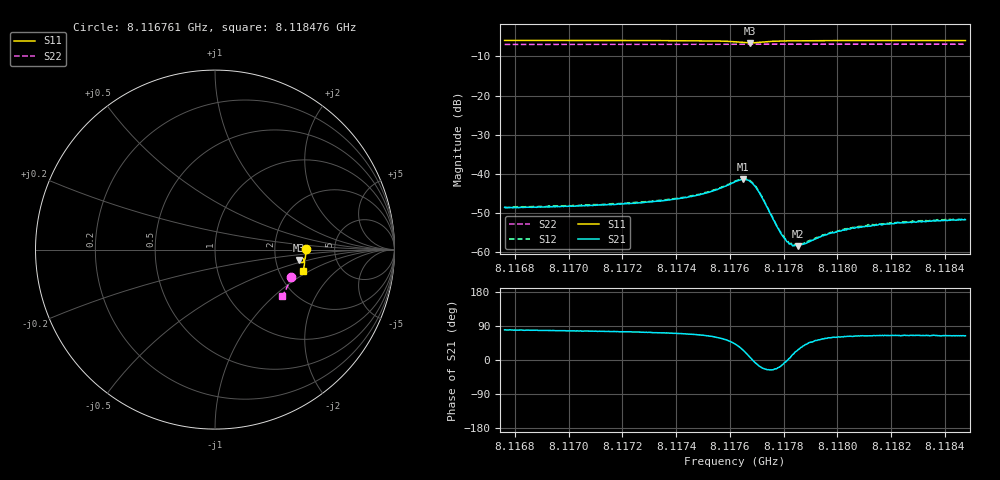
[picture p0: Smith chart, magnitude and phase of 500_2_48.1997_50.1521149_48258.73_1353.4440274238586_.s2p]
#  HZ  S  RI  R  50.00
! Rohde & Schwarz Vector Network Analyzer
! Rohde-Schwarz,ZNB20-2Port,1311601062101988,3.16
! Created: UTC 3/20/2024, 11:58:32 AM
! freq[Hz]  re:S11  im:S11  re:S21  im:S21  re:S12  im:S12  re:S22  im:S22
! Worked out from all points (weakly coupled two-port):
!   401 points, 8.116761 GHz to 8.118476 GHz, reference 50 ohm
!   highest |S21| = -41.36 dB at 8.117649 GHz (marker M1); lowest = -58.5 dB at 8.117855 GHz (marker M2)
!   lowest |S11| = -6.5 dB at 8.117675 GHz (marker M3), VSWR 2.79, Z = 136 - j20.4 ohm
!   |S11| at or under -10 dB: nowhere
!   |S22| runs from -6.9 to -6.8 dB; largest |S21 - S12| = 0.00022
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8.1167615e9  0.5068 0.00221  0.000677 0.00367  0.000764 0.00369  0.4241 -0.1527
8.1170487e9  0.5058 -0.0201  0.000946 0.00379  0.000983 0.0039  0.4177 -0.1715
8.1172201e9  0.5046 -0.034  0.00113 0.00404  0.00116 0.00409  0.4134 -0.183
8.1173359e9  0.5034 -0.0439  0.00139 0.00427  0.00145 0.00438  0.4102 -0.1904
8.1174302e9  0.5012 -0.0527  0.00177 0.00466  0.00181 0.00468  0.4076 -0.1963
8.1174945e9  0.4988 -0.0595  0.00227 0.00503  0.00237 0.00507  0.4057 -0.2006
8.1175545e9  0.4943 -0.0668  0.00324 0.00546  0.00333 0.00554  0.4037 -0.2044
8.1176188e9  0.4818 -0.0727  0.00588 0.00537  0.006 0.00543  0.4014 -0.2085
8.1176488e9  0.4722 -0.0689  0.00767 0.00376  0.0078 0.00378  0.4001 -0.2101
8.1176745e9  0.4683 -0.0585  0.00799 0.000996  0.00821 0.000941  0.3993 -0.211
8.1176917e9  0.4715 -0.0512  0.00702 -0.000698  0.00722 -0.000763  0.3991 -0.2118
8.1177088e9  0.4776 -0.0474  0.00558 -0.00161  0.00566 -0.00165  0.399 -0.2126
8.1177774e9  0.4942 -0.0538  0.00193 -0.000739  0.00196 -0.000783  0.3975 -0.2173
8.1178031e9  0.4964 -0.0578  0.0015 -0.000179  0.00149 -0.000243  0.3969 -0.2191
8.117816e9  0.497 -0.0596  0.00135 1.34e-05  0.00138 -2.25e-05  0.3964 -0.2199
8.1178288e9  0.4977 -0.0614  0.00125 0.000241  0.00129 0.00021  0.396 -0.2207
8.1178545e9  0.4982 -0.0648  0.00106 0.000556  0.00114 0.00056  0.3954 -0.2224
8.117906e9  0.4988 -0.0706  0.000964 0.00104  0.000971 0.00109  0.3936 -0.2255
8.1179703e9  0.4986 -0.0773  0.000902 0.00148  0.00093 0.0015  0.3916 -0.2298
8.1180474e9  0.4978 -0.0842  0.00091 0.00176  0.000961 0.00182  0.3891 -0.2346
8.1181932e9  0.4958 -0.0964  0.000989 0.00207  0.00105 0.00213  0.384 -0.2436
8.1184761e9  0.4911 -0.1181  0.00114 0.00234  0.00118 0.00236  0.3736 -0.2606
